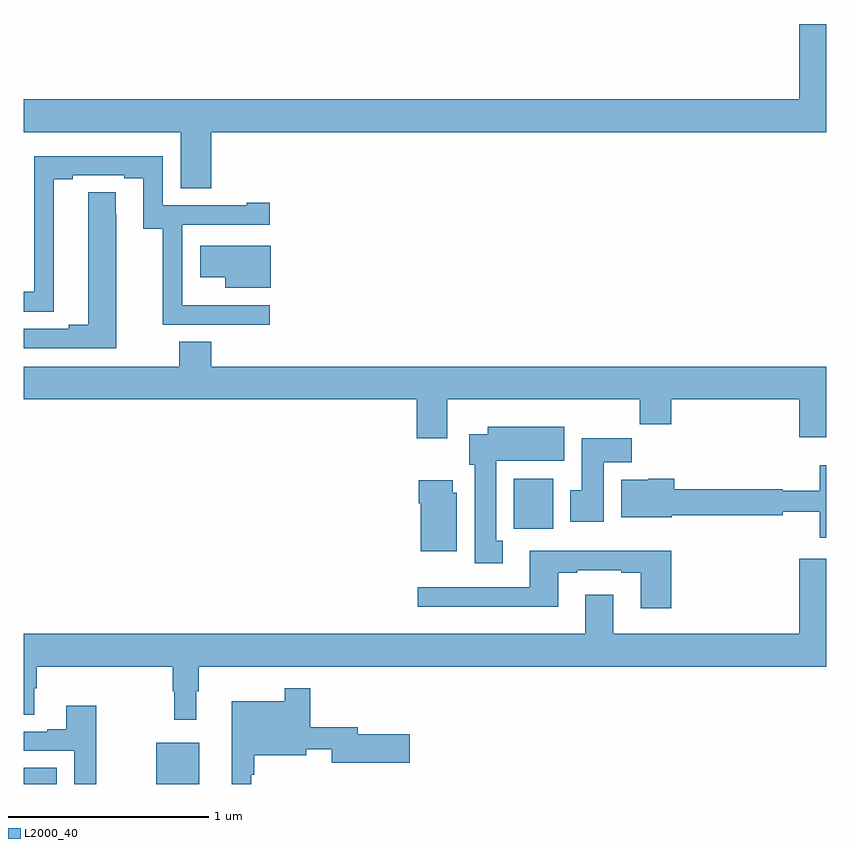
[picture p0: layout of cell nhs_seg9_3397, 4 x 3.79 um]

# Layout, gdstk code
import gdstk
lib = gdstk.Library(unit=1e-6, precision=1e-09)
def R(c, l, rs):  # rectangles x0, y0, x1, y1
    for r in rs: c.add(gdstk.rectangle(r[:2], r[2:], *l))
def P(c, l, *ps):  # polygons
    for p in ps: c.add(gdstk.Polygon(p, *l))
L2000_40 = (2000, 40)

nhs_seg9_3397 = lib.new_cell('nhs_seg9_3397')
R(nhs_seg9_3397, L2000_40, [(305,1198.5,305.164,1198.58), (305.66,1198.5,305.875,1198.705), (307.443,1199.772,307.639,1200.022)])
P(nhs_seg9_3397, L2000_40, [(305.936,1201.748),(309,1201.748),(309,1202.287),(308.864,1202.287),(308.864,1201.912),(305,1201.912),(305,1201.748),(305.783,1201.748),(305.783,1201.468),(305.936,1201.468)],
  [(306.226,1200.885),(305.792,1200.885),(305.792,1200.886),(305.79,1200.886),(305.79,1201.287),(306.226,1201.287),(306.226,1201.396),(306.113,1201.396),(306.113,1201.383),(305.694,1201.383),(305.694,1201.629),(305.052,1201.629),(305.052,1200.954),(305,1200.954),(305,1200.853),(305.149,1200.853),(305.149,1201.513),(305.245,1201.513),(305.245,1201.533),(305.501,1201.533),(305.501,1201.518),(305.597,1201.518),(305.597,1201.267),(305.692,1201.267),(305.692,1200.789),(306.226,1200.789)],
  [(305.461,1201.34),(305.46,1201.34),(305.46,1201.448),(305.321,1201.448),(305.321,1200.788),(305.225,1200.788),(305.225,1200.768),(305,1200.768),(305,1200.672),(305.461,1200.672)],
  [(306.232,1201.183),(305.88,1201.183),(305.88,1201.025),(306.005,1201.025),(306.005,1200.974),(306.232,1200.974)],
  [(307.111,1200.416),(308.071,1200.416),(308.071,1200.292),(308.228,1200.292),(308.228,1200.416),(308.864,1200.416),(308.864,1200.228),(309,1200.228),(309,1200.58),(305.936,1200.58),(305.936,1200.704),(305.776,1200.704),(305.776,1200.58),(305,1200.58),(305,1200.416),(306.959,1200.416),(306.959,1200.222),(307.111,1200.222)],
  [(307.387,1199.713),(307.354,1199.713),(307.354,1200.11),(307.693,1200.11),(307.693,1200.28),(307.313,1200.28),(307.313,1200.244),(307.22,1200.244),(307.22,1200.09),(307.247,1200.09),(307.247,1199.601),(307.387,1199.601)],
  [(307.891,1200.104),(308.03,1200.104),(308.03,1200.222),(307.781,1200.222),(307.781,1199.964),(307.724,1199.964),(307.724,1199.808),(307.891,1199.808)],
  [(309,1200.088),(308.966,1200.088),(308.966,1199.96),(308.782,1199.96),(308.782,1199.968),(308.243,1199.968),(308.243,1200.022),(308.112,1200.022),(308.112,1200.016),(307.979,1200.016),(307.979,1199.828),(308.23,1199.828),(308.23,1199.839),(308.782,1199.839),(308.782,1199.857),(308.966,1199.857),(308.966,1199.727),(309,1199.727)],
  [(307.159,1199.952),(307.138,1199.952),(307.138,1200.013),(306.968,1200.013),(306.968,1199.9),(306.98,1199.9),(306.98,1199.66),(307.159,1199.66)],
  [(308.228,1199.662),(307.523,1199.662),(307.523,1199.481),(306.963,1199.481),(306.963,1199.384),(307.663,1199.384),(307.663,1199.553),(307.759,1199.553),(307.759,1199.565),(307.979,1199.565),(307.979,1199.553),(308.075,1199.553),(308.075,1199.376),(308.228,1199.376)],
  [(305.86,1198.961),(305.872,1198.961),(305.872,1199.084),(309,1199.084),(309,1199.623),(308.864,1199.623),(308.864,1199.248),(307.939,1199.248),(307.939,1199.443),(307.799,1199.443),(307.799,1199.248),(305,1199.248),(305,1198.846),(305.053,1198.846),(305.053,1198.978),(305.066,1198.978),(305.066,1199.084),(305.743,1199.084),(305.743,1198.961),(305.751,1198.961),(305.751,1198.821),(305.86,1198.821)],
  [(306.135,1198.547),(306.148,1198.547),(306.148,1198.643),(306.409,1198.643),(306.409,1198.673),(306.536,1198.673),(306.536,1198.607),(306.925,1198.607),(306.925,1198.749),(306.664,1198.749),(306.664,1198.783),(306.428,1198.783),(306.428,1198.978),(306.3,1198.978),(306.3,1198.912),(306.038,1198.912),(306.038,1198.5),(306.135,1198.5)],
  [(305.362,1198.891),(305.213,1198.891),(305.213,1198.774),(305.117,1198.774),(305.117,1198.761),(305,1198.761),(305,1198.665),(305.253,1198.665),(305.253,1198.5),(305.362,1198.5)])

lib.write_gds('nhs_seg9_3397.gds')
